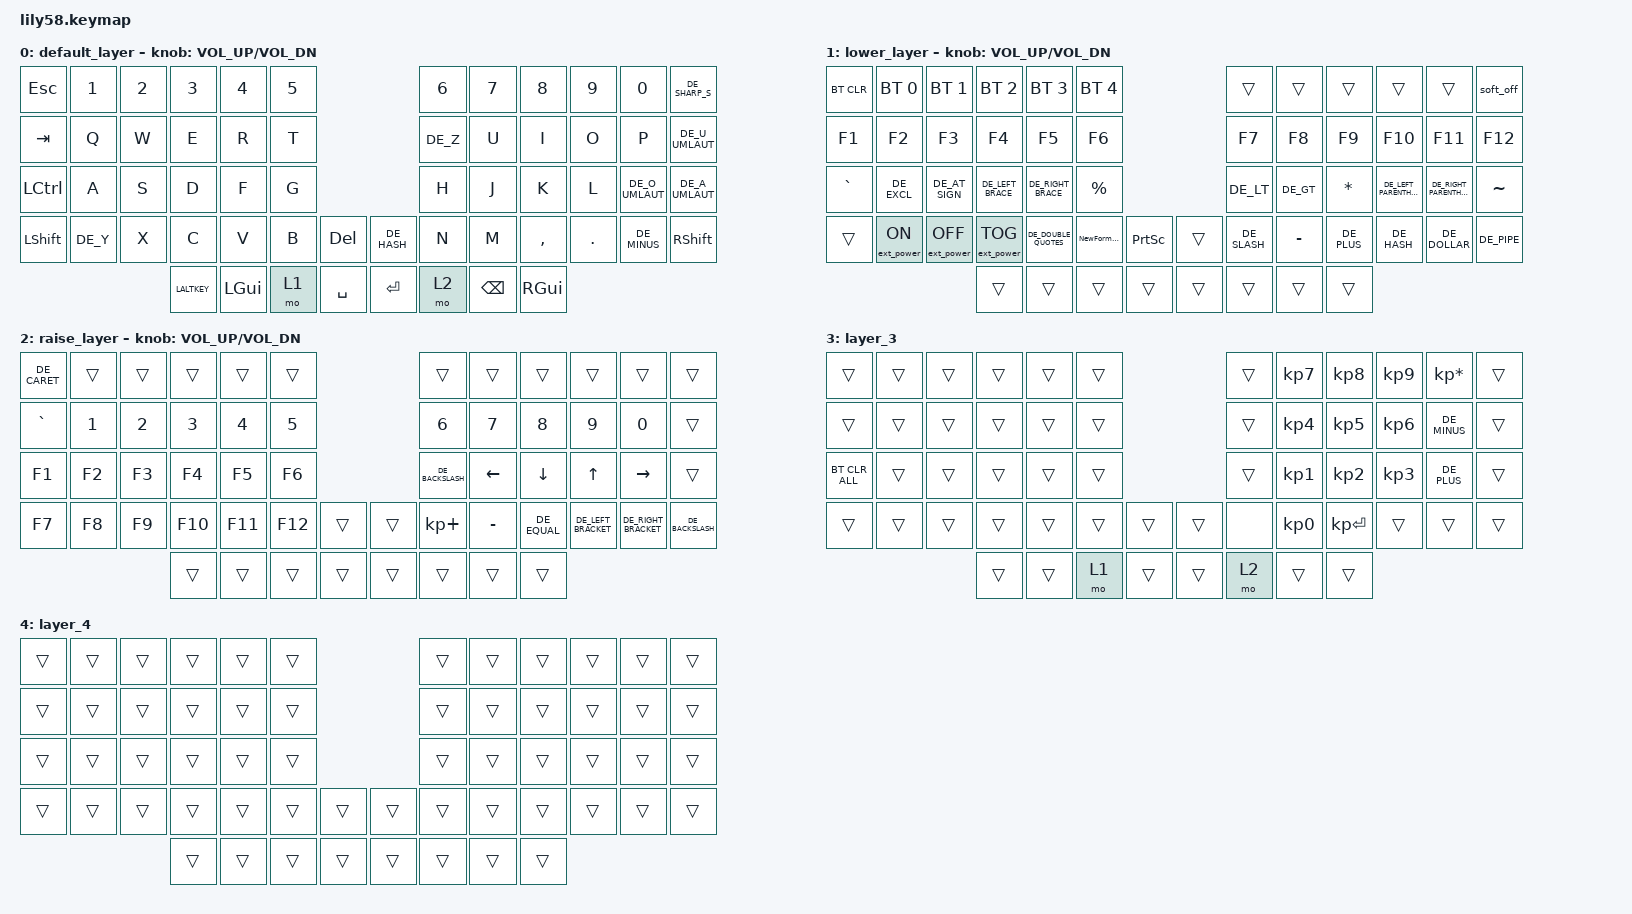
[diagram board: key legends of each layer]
/*
 * Copyright (c) 2020 The ZMK Contributors
 *
 * SPDX-License-Identifier: MIT
 */

#include "keys_de.h"
#include <behaviors.dtsi>
#include <dt-bindings/zmk/bt.h>
#include <dt-bindings/zmk/ext_power.h>
#include <dt-bindings/zmk/keys.h>

/ {
    combos {
        compatible = "zmk,combos";

        NumpadLayer {
            bindings = <&to 3>;
            key-positions = <52 55>;
            layers = <0 1 2>;
        };

        BackToDefault {
            bindings = <&to 0>;
            key-positions = <52 55>;
            layers = <3>;
        };
    };

    macros {
        NewFormulaWord: NewFormulaWord {
            compatible = "zmk,behavior-macro";
            #binding-cells = <0>;
            bindings = <&kt LALT &kp DE_EQUAL &kt LEFT_ALT>;
            label = "NEWFORMULAWORD";
        };
    };

    behaviors {
        LALTKEY: LALTKEY {
            compatible = "zmk,behavior-tap-dance";
            label = "LALTKEY";
            #binding-cells = <0>;
            bindings = <&kp LALT>, <&NewFormulaWord>;
        };
    };

    keymap {
        compatible = "zmk,keymap";

        default_layer {
            // ------------------------------------------------------------------------------------------------------------
            // |  ESC  |  1  |  2  |  3   |  4   |  5   |                   |  6   |  7    |  8    |  9   |   0   |   `   |
            // |  TAB  |  Q  |  W  |  E   |  R   |  T   |                   |  Y   |  U    |  I    |  O   |   P   |   -   |
            // |  CTRL |  A  |  S  |  D   |  F   |  G   |                   |  H   |  J    |  K    |  L   |   ;   |   '   |
            // | SHIFT |  Z  |  X  |  C   |  V   |  B   |   "["  |  |  "]"  |  N   |  M    |  ,    |  .   |   /   | SHIFT |
            //                     | ALT  | GUI  | LOWER|  SPACE |  | ENTER | RAISE| BSPC  | GUI   |

            bindings = <
&kp ESC    &kp N1    &kp N2  &kp N3    &kp N4    &kp N5                             &kp N6    &kp N7    &kp N8     &kp N9   &kp N0           &kp DE_SHARP_S
&kp TAB    &kp Q     &kp W   &kp E     &kp R     &kp T                              &kp DE_Z  &kp U     &kp I      &kp O    &kp P            &kp DE_U_UMLAUT
&kp LCTRL  &kp A     &kp S   &kp D     &kp F     &kp G                              &kp H     &kp J     &kp K      &kp L    &kp DE_O_UMLAUT  &kp DE_A_UMLAUT
&kp LSHFT  &kp DE_Y  &kp X   &kp C     &kp V     &kp B   &kp DELETE    &kp DE_HASH  &kp N     &kp M     &kp COMMA  &kp DOT  &kp DE_MINUS     &kp RSHFT
                             &LALTKEY  &kp LGUI  &mo 1   &kp SPACE     &kp RET      &mo 2     &kp BSPC  &kp RGUI
            >;

            sensor-bindings = <&inc_dec_kp C_VOL_UP C_VOL_DN>;
        };

        lower_layer {
            // ------------------------------------------------------------------------------------------------------------
            // | BTCLR | BT1 | BT2 |  BT3 |  BT4 |  BT5 |                   |      |       |       |      |       |       |
            // |  F1   |  F2 |  F3 |  F4  |  F5  |  F6  |                   |  F7  |  F8   |  F9   |  F10 |  F11  |  F12  |
            // |   `   |  !  |  @  |  #   |  $   |  %   |                   |  ^   |  &    |  *    |  (   |   )   |   ~   |
            // |       |     |     |      |      |      |        |  |       |      |  _    |  +    |  {   |   }   |  "|"  |
            //                     |      |      |      |        |  |       |      |       |       |

            bindings = <
&bt BT_CLR  &bt BT_SEL 0      &bt BT_SEL 1       &bt BT_SEL 2       &bt BT_SEL 3          &bt BT_SEL 4                                &trans        &trans     &trans       &trans                   &trans                    &soft_off
&kp F1      &kp F2            &kp F3             &kp F4             &kp F5                &kp F6                                      &kp F7        &kp F8     &kp F9       &kp F10                  &kp F11                   &kp F12
&kp GRAVE   &kp DE_EXCL       &kp DE_AT_SIGN     &kp DE_LEFT_BRACE  &kp DE_RIGHT_BRACE    &kp PRCNT                                   &kp DE_LT     &kp DE_GT  &kp ASTRK    &kp DE_LEFT_PARENTHESIS  &kp DE_RIGHT_PARENTHESIS  &kp TILDE
&trans      &ext_power EP_ON  &ext_power EP_OFF  &ext_power EP_TOG  &kp DE_DOUBLE_QUOTES  &NewFormulaWord  &kp PRINTSCREEN    &trans  &kp DE_SLASH  &kp MINUS  &kp DE_PLUS  &kp DE_HASH              &kp DE_DOLLAR             &kp DE_PIPE
                                                 &trans             &trans                &trans           &trans             &trans  &trans        &trans     &trans
            >;

            sensor-bindings = <&inc_dec_kp C_VOL_UP C_VOL_DN>;
        };

        raise_layer {
            // ------------------------------------------------------------------------------------------------------------
            // |       |     |     |      |      |      |                   |      |       |       |      |       |       |
            // |   `   |  1  |  2  |  3   |  4   |  5   |                   |  6   |   7   |   8   |  9   |   0   |       |
            // |   F1  |  F2 |  F3 |  F4  |  F5  |  F6  |                   |      |   <-  |   v   |  ^   |  ->   |       |
            // |   F7  |  F8 |  F9 |  F10 |  F11 |  F12 |        |  |       |  +   |   -   |   =   |  [   |   ]   |   \   |
            //                     |      |      |      |        |  |       |      |       |       |

            bindings = <
&kp DE_CARET  &trans  &trans  &trans   &trans   &trans                     &trans            &trans     &trans        &trans               &trans                &trans
&kp GRAVE     &kp N1  &kp N2  &kp N3   &kp N4   &kp N5                     &kp N6            &kp N7     &kp N8        &kp N9               &kp N0                &trans
&kp F1        &kp F2  &kp F3  &kp F4   &kp F5   &kp F6                     &kp DE_BACKSLASH  &kp LEFT   &kp DOWN      &kp UP               &kp RIGHT             &trans
&kp F7        &kp F8  &kp F9  &kp F10  &kp F11  &kp F12  &trans    &trans  &kp KP_PLUS       &kp MINUS  &kp DE_EQUAL  &kp DE_LEFT_BRACKET  &kp DE_RIGHT_BRACKET  &kp DE_BACKSLASH
                              &trans   &trans   &trans   &trans    &trans  &trans            &trans     &trans
            >;

            sensor-bindings = <&inc_dec_kp C_VOL_UP C_VOL_DN>;
        };

        layer_3 {
            bindings = <
&trans          &trans  &trans  &trans  &trans  &trans                    &trans  &kp KP_NUMBER_7  &kp KP_NUMBER_8  &kp KP_NUMBER_9  &kp KP_MULTIPLY  &trans
&trans          &trans  &trans  &trans  &trans  &trans                    &trans  &kp KP_NUMBER_4  &kp KP_NUMBER_5  &kp KP_NUMBER_6  &kp DE_MINUS     &trans
&bt BT_CLR_ALL  &trans  &trans  &trans  &trans  &trans                    &trans  &kp KP_NUMBER_1  &kp KP_NUMBER_2  &kp KP_NUMBER_3  &kp DE_PLUS      &trans
&trans          &trans  &trans  &trans  &trans  &trans  &trans    &trans  &none   &kp KP_NUMBER_0  &kp KP_ENTER     &trans           &trans           &trans
                                &trans  &trans  &mo 1   &trans    &trans  &mo 2   &trans           &trans
            >;
        };

        layer_4 {
            bindings = <
&trans  &trans  &trans  &trans  &trans  &trans                    &trans  &trans  &trans  &trans  &trans  &trans
&trans  &trans  &trans  &trans  &trans  &trans                    &trans  &trans  &trans  &trans  &trans  &trans
&trans  &trans  &trans  &trans  &trans  &trans                    &trans  &trans  &trans  &trans  &trans  &trans
&trans  &trans  &trans  &trans  &trans  &trans  &trans    &trans  &trans  &trans  &trans  &trans  &trans  &trans
                        &trans  &trans  &trans  &trans    &trans  &trans  &trans  &trans
            >;
        };
    };
};
